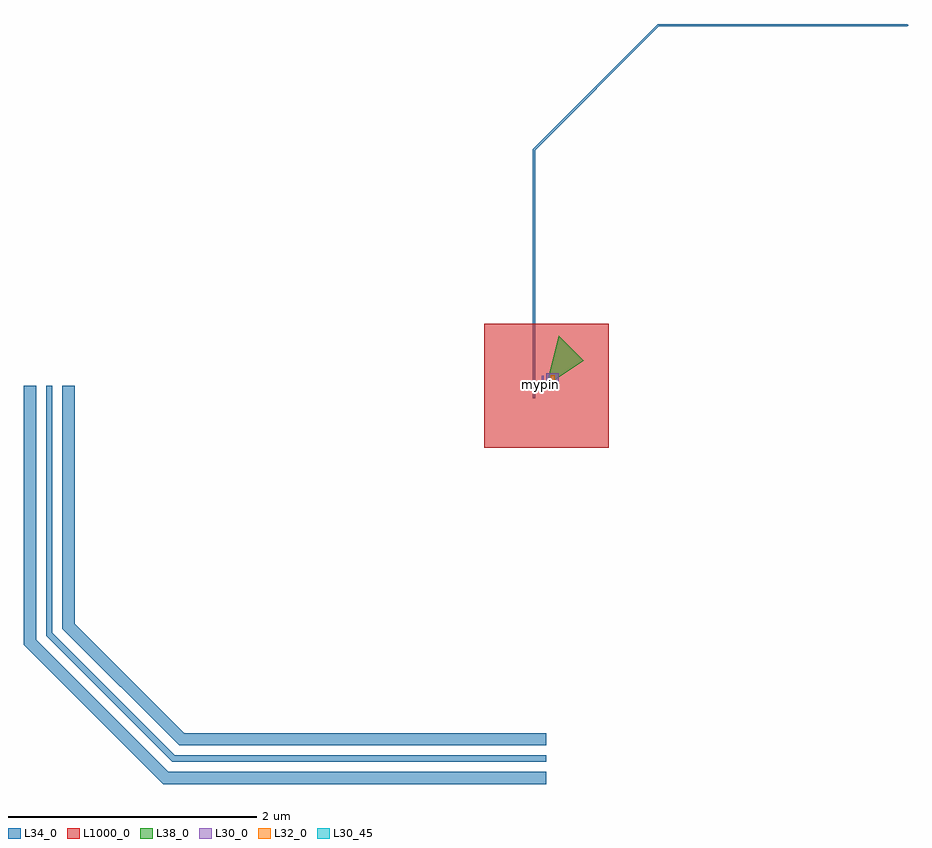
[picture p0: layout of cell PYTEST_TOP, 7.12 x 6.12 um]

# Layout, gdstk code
from math import pi, radians
import gdstk
lib = gdstk.Library(unit=1e-6, precision=1e-09)
def R(c, l, rs):  # rectangles x0, y0, x1, y1
    for r in rs: c.add(gdstk.rectangle(r[:2], r[2:], *l))
def P(c, l, *ps):  # polygons
    for p in ps: c.add(gdstk.Polygon(p, *l))
L30_0 = (30, 0)
L30_45 = (30, 45)
L32_0 = (32, 0)
L34_0 = (34, 0)
L38_0 = (38, 0)
L1000_0 = (1000, 0)

testrectpath00 = lib.new_cell('TestRectPath00')
P(testrectpath00, L30_0, [(0.18,0.08),(0.1,0.08),(0.1,0.06),(0.18,0.06),(0.18,0.08)])
P(testrectpath00, L34_0, [(3.01,3.004),(3.004,3.01),(2.996,3.01),(2.99,3.004),(2.99,1.004),(1.996,0.01),(0,0.01),(0,-0.01),(2.004,-0.01),(3.01,0.996),(3.01,3.004)])

pytest_top = lib.new_cell('PYTEST_TOP')
R(pytest_top, L30_0, [(0,0,0.1,0.1)])
R(pytest_top, L30_45, [(-0.1,0,0,0.02)])
R(pytest_top, L32_0, [(0.034,0.018,0.066,0.082)])
R(pytest_top, L34_0, [(0,0,0.1,0.1)])
P(pytest_top, L34_0, [(0,-3.105),(-3.045,-3.105),(-4.105,-2.045),(-4.105,0),(-4.205,0),(-4.205,-2.085),(-3.085,-3.205),(0,-3.205),(0,-3.105)],
  [(0,-2.975),(-2.989,-2.975),(-3.975,-1.989),(-3.975,0),(-4.025,0),(-4.025,-2.011),(-3.011,-3.025),(0,-3.025),(0,-2.975)],
  [(0,-2.795),(-2.915,-2.795),(-3.795,-1.915),(-3.795,0),(-3.895,0),(-3.895,-1.955),(-2.955,-2.895),(0,-2.895),(0,-2.795)])
P(pytest_top, L38_0, [(0.3,0.2),(0.1,0.4),(0,0),(0.3,0.2)])
R(pytest_top, L1000_0, [(-0.5,-0.5,0.5,0.5)])
pytest_top.add(gdstk.Reference(testrectpath00, (-0.1,-0.1), rotation=pi/2, x_reflection=True))
pytest_top.add(gdstk.Label('mypin', (-0.05,0.01), layer=30, texttype=45))

lib.write_gds('PYTEST_TOP.gds')
